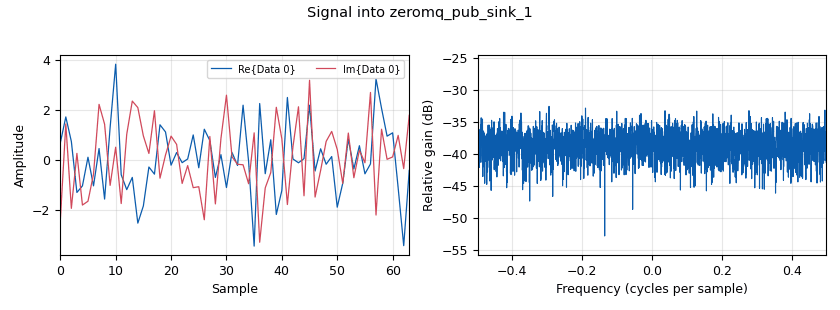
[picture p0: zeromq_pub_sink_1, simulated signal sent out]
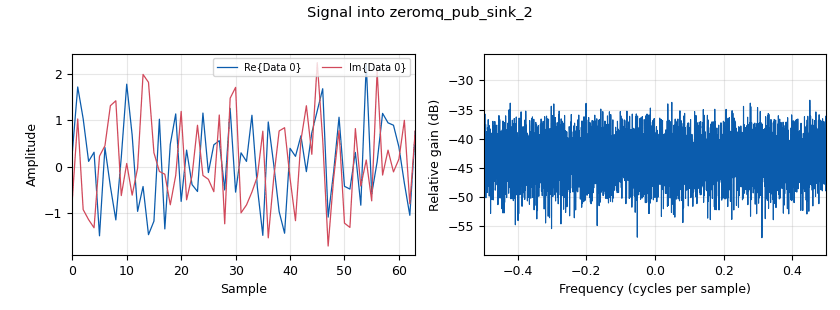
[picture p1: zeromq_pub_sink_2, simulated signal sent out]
options:
  parameters:
    author: Matt Hostetter
    category: Custom
    generate_options: qt_gui
    id: app
    output_language: python
    title: ADS-B Receiver
  states: {}

blocks:
- name: fc
  id: variable
  parameters:
    value: int(88.1e6)
  states: {}
- name: fs
  id: variable
  parameters:
    value: int(2e6)
  states: {}
- name: gain
  id: variable
  parameters:
    value: '100'
  states: {}
- name: select_index
  id: variable
  parameters:
    value: '0'
  states: {}
- name: threshold
  id: variable_qtgui_entry
  parameters:
    gui_hint: 0,1,1,1
    label: Detection Threshold
    type: real
    value: '0.010'
  states: {}
- name: adsb_decoder_0
  id: adsb_decoder
  parameters:
    error_corr: '"None"'
    msg_filter: '"Extended Squitter Only"'
    print_level: '"Brief"'
  states: {state: disabled}
- name: adsb_demod_0
  id: adsb_demod
  parameters:
    fs: fs
  states: {state: disabled}
- name: adsb_framer_1
  id: adsb_framer
  parameters:
    fs: fs
    threshold: threshold
  states: {state: disabled}
- name: analog_const_source_x_0
  id: analog_const_source_x
  parameters:
    const: threshold
    type: float
  states: {state: disabled}
- name: analog_noise_source_x_0
  id: analog_noise_source_x
  parameters:
    amp: '1'
    noise_type: analog.GR_GAUSSIAN
    seed: '0'
    type: complex
  states: {}
- name: analog_noise_source_x_1
  id: analog_noise_source_x
  parameters:
    amp: '1'
    noise_type: analog.GR_GAUSSIAN
    seed: '0'
    type: complex
  states: {}
- name: analog_noise_source_x_2
  id: analog_noise_source_x
  parameters:
    amp: '1'
    noise_type: analog.GR_GAUSSIAN
    seed: '0'
    type: complex
  states: {state: disabled}
- name: analog_wfm_rcv_0
  id: analog_wfm_rcv
  parameters:
    audio_decimation: '4'
    quad_rate: 48000*4
  states: {state: disabled}
- name: blocks_add_xx_0
  id: blocks_add_xx
  parameters:
    type: complex
  states: {}
- name: blocks_add_xx_1
  id: blocks_add_xx
  parameters:
    type: complex
  states: {}
- name: blocks_complex_to_mag_squared_0
  id: blocks_complex_to_mag_squared
  parameters: {}
  states: {state: disabled}
- name: blocks_delay_0
  id: blocks_delay
  parameters:
    delay: '512'
    type: complex
  states: {}
- name: blocks_null_sink_0
  id: blocks_null_sink
  parameters:
    type: float
  states: {state: disabled}
- name: blocks_selector_0
  id: blocks_selector
  parameters:
    enabled: 'True'
    input_index: '0'
    num_inputs: '1'
    num_outputs: '3'
    output_index: select_index
    type: complex
  states: {state: disabled}
- name: blocks_throttle_0
  id: blocks_throttle
  parameters:
    samples_per_second: '32000'
    type: complex
  states: {}
- name: blocks_throttle_1
  id: blocks_throttle
  parameters:
    samples_per_second: '32000'
    type: complex
  states: {}
- name: iio_fmcomms2_source_0
  id: iio_fmcomms2_source
  parameters:
    auto_filter: 'True'
    bandwidth: '20000000'
    bbdc: 'True'
    buffer_size: '32768'
    frequency: fc
    gain1: '''manual'''
    manual_gain1: '64'
    quadrature: 'True'
    rf_port_select: '''A_BALANCED'''
    rfdc: 'True'
    rx1_en: 'True'
    rx2_en: 'False'
    samplerate: fs
    uri: ip:192.168.65.254
  states: {state: disabled}
- name: qtgui_time_sink_x_0
  id: qtgui_time_sink_x
  parameters:
    grid: 'True'
    gui_hint: 1,0,1,2
    label1: ''
    label2: ''
    legend: 'False'
    marker1: '0'
    nconnections: '2'
    size: int(fs*150e-6)
    srate: int(fs)
    tr_delay: '1.25e-6'
    tr_level: '0'
    tr_mode: qtgui.TRIG_MODE_TAG
    tr_tag: '"burst"'
    type: float
    update_time: 1.0/100.0
    ymin: '0'
  states: {state: disabled}
- name: rational_resampler_xxx_0
  id: rational_resampler_xxx
  parameters:
    decim: '125'
    fbw: '0.4'
    interp: '12'
    taps: ''
    type: ccc
  states: {state: disabled}
- name: xmlrpc_server_0
  id: xmlrpc_server
  parameters:
    addr: 0.0.0.0
    port: '5010'
  states: {state: disabled}
- name: zeromq_pub_msg_sink_0
  id: zeromq_pub_msg_sink
  parameters:
    address: tcp://127.0.0.1:5001
    timeout: '10'
  states: {state: disabled}
- name: zeromq_pub_sink_0
  id: zeromq_pub_sink
  parameters:
    address: tcp://127.0.0.1:5002
    timeout: '10'
    type: float
  states: {state: disabled}
- name: zeromq_pub_sink_1
  id: zeromq_pub_sink
  parameters:
    address: tcp://127.0.0.1:5003
    timeout: '10'
    type: complex
  states: {}
- name: zeromq_pub_sink_2
  id: zeromq_pub_sink
  parameters:
    address: tcp://127.0.0.1:5004
    timeout: '10'
    type: complex
  states: {}

connections:
- [adsb_decoder_0, decoded, zeromq_pub_msg_sink_0, in]
- [adsb_demod_0, '0', blocks_null_sink_0, '0']
- [adsb_demod_0, '0', qtgui_time_sink_x_0, '0']
- [adsb_demod_0, demodulated, adsb_decoder_0, demodulated]
- [adsb_framer_1, '0', adsb_demod_0, '0']
- [analog_const_source_x_0, '0', qtgui_time_sink_x_0, '1']
- [analog_noise_source_x_0, '0', blocks_throttle_0, '0']
- [analog_noise_source_x_1, '0', blocks_throttle_1, '0']
- [analog_noise_source_x_2, '0', blocks_selector_0, '0']
- [analog_wfm_rcv_0, '0', zeromq_pub_sink_0, '0']
- [blocks_add_xx_0, '0', zeromq_pub_sink_1, '0']
- [blocks_add_xx_1, '0', zeromq_pub_sink_2, '0']
- [blocks_complex_to_mag_squared_0, '0', adsb_framer_1, '0']
- [blocks_delay_0, '0', blocks_add_xx_1, '0']
- [blocks_selector_0, '0', blocks_complex_to_mag_squared_0, '0']
- [blocks_selector_0, '1', rational_resampler_xxx_0, '0']
- [blocks_throttle_0, '0', blocks_add_xx_0, '1']
- [blocks_throttle_0, '0', blocks_add_xx_1, '1']
- [blocks_throttle_1, '0', blocks_add_xx_0, '0']
- [blocks_throttle_1, '0', blocks_delay_0, '0']
- [iio_fmcomms2_source_0, '0', blocks_selector_0, '0']
- [rational_resampler_xxx_0, '0', analog_wfm_rcv_0, '0']

metadata:
  file_format: 1
